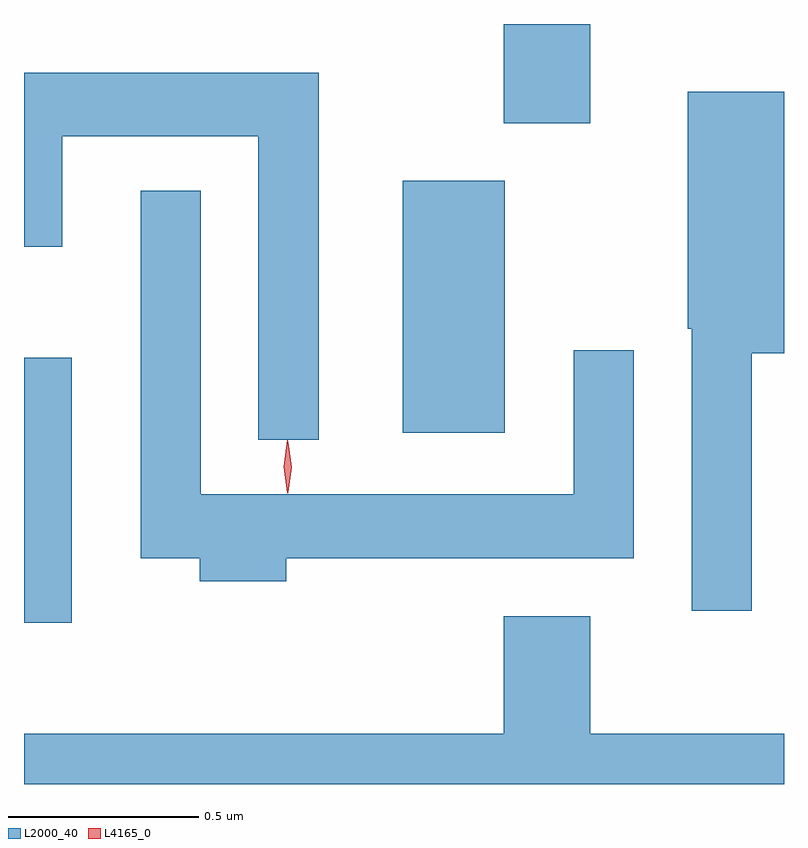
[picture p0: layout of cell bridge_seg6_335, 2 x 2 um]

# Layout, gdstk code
import gdstk
lib = gdstk.Library(unit=1e-6, precision=1e-09)
def R(c, l, rs):  # rectangles x0, y0, x1, y1
    for r in rs: c.add(gdstk.rectangle(r[:2], r[2:], *l))
def P(c, l, *ps):  # polygons
    for p in ps: c.add(gdstk.Polygon(p, *l))
L2000_40 = (2000, 40)
L4165_0 = (4165, 0)

bridge_seg6_335 = lib.new_cell('bridge_seg6_335')
R(bridge_seg6_335, L2000_40, [(1312.049,1557.256,1312.174,1557.954), (1313.046,1557.756,1313.314,1558.419), (1313.311,1558.571,1313.539,1558.832)])
P(bridge_seg6_335, L2000_40, [(1312.824,1558.704),(1312.049,1558.704),(1312.049,1558.246),(1312.149,1558.246),(1312.149,1558.536),(1312.666,1558.536),(1312.666,1557.738),(1312.824,1557.738)],
  [(1313.964,1557.966),(1314.049,1557.966),(1314.049,1558.654),(1313.796,1558.654),(1313.796,1558.03),(1313.806,1558.03),(1313.806,1557.288),(1313.964,1557.288)],
  [(1312.739,1557.426),(1313.654,1557.426),(1313.654,1557.973),(1313.496,1557.973),(1313.496,1557.594),(1312.514,1557.594),(1312.514,1558.393),(1312.356,1558.393),(1312.356,1557.426),(1312.511,1557.426),(1312.511,1557.366),(1312.739,1557.366)],
  [(1314.049,1556.964),(1313.539,1556.964),(1313.539,1557.274),(1313.311,1557.274),(1313.311,1556.964),(1312.049,1556.964),(1312.049,1556.832),(1314.049,1556.832)])
P(bridge_seg6_335, L4165_0, [(1312.744,1557.599),(1312.744,1557.6),(1312.735,1557.666),(1312.744,1557.732),(1312.745,1557.733),(1312.745,1557.732),(1312.754,1557.666),(1312.745,1557.6)],
  [(1312.742,1557.597),(1312.742,1557.598),(1312.732,1557.667),(1312.742,1557.736),(1312.742,1557.736),(1312.743,1557.736),(1312.752,1557.667),(1312.743,1557.598)])

lib.write_gds('bridge_seg6_335.gds')
